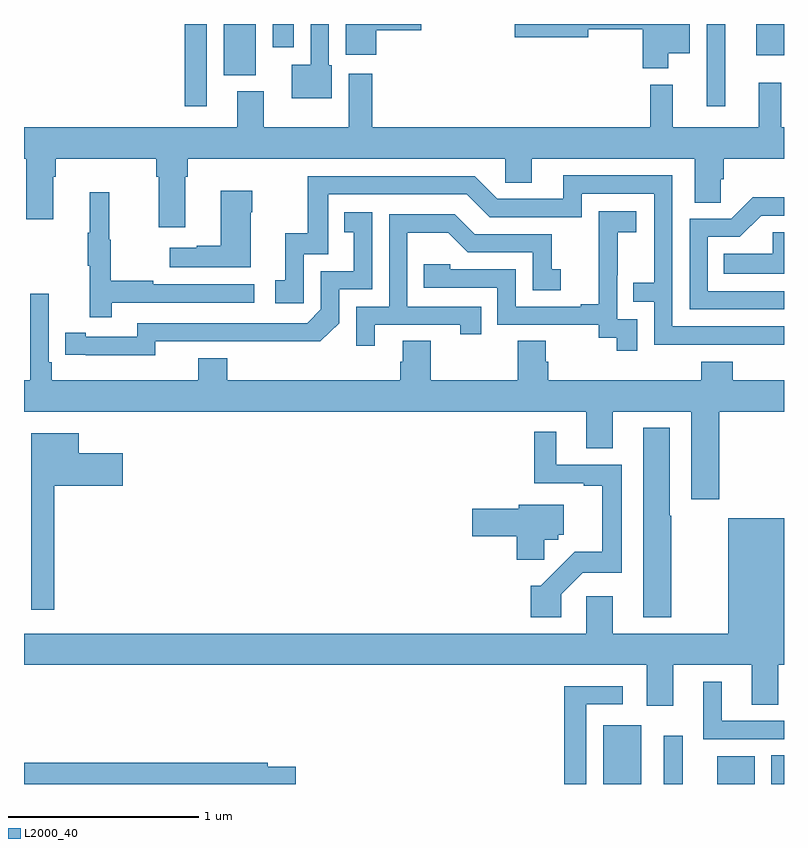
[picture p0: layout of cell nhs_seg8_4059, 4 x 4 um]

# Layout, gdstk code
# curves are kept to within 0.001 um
import gdstk
lib = gdstk.Library(unit=1e-6, precision=1e-09)
def R(c, l, rs):  # rectangles x0, y0, x1, y1
    for r in rs: c.add(gdstk.rectangle(r[:2], r[2:], *l))
def P(c, l, *ps):  # polygons
    for p in ps: c.add(gdstk.Polygon(p, *l))
L2000_40 = (2000, 40)

nhs_seg8_4059 = lib.new_cell('nhs_seg8_4059')
R(nhs_seg8_4059, L2000_40, [(364.049,1087.9,364.249,1088.209), (364.368,1087.9,364.466,1088.155), (364.649,1087.9,364.846,1088.047), (364.934,1087.9,365,1088.051), (361.846,1091.466,361.962,1091.9), (364.593,1091.466,364.69,1091.9), (362.051,1091.63,362.221,1091.9), (364.853,1091.735,365,1091.9), (362.309,1091.778,362.419,1091.9)])
P(nhs_seg8_4059, L2000_40, [(362.855,1091.867),(363.091,1091.867),(363.091,1091.9),(362.693,1091.9),(362.693,1091.739),(362.855,1091.739)],
  [(362.62,1091.682),(362.604,1091.682),(362.604,1091.9),(362.508,1091.9),(362.508,1091.686),(362.408,1091.686),(362.408,1091.51),(362.62,1091.51)],
  [(364.39,1091.747),(364.504,1091.747),(364.504,1091.9),(363.582,1091.9),(363.582,1091.83),(363.97,1091.83),(363.97,1091.872),(364.256,1091.872),(364.256,1091.666),(364.39,1091.666)],
  [(363.534,1091.065),(363.673,1091.065),(363.673,1091.192),(364.529,1091.192),(364.529,1090.96),(364.668,1090.96),(364.668,1091.083),(364.682,1091.083),(364.682,1091.192),(365,1091.192),(365,1091.356),(364.985,1091.356),(364.985,1091.59),(364.868,1091.59),(364.868,1091.356),(364.415,1091.356),(364.415,1091.581),(364.297,1091.581),(364.297,1091.356),(362.834,1091.356),(362.834,1091.638),(362.708,1091.638),(362.708,1091.356),(362.263,1091.356),(362.263,1091.545),(362.123,1091.545),(362.123,1091.356),(361,1091.356),(361,1091.192),(361.013,1091.192),(361.013,1090.872),(361.153,1090.872),(361.153,1091.096),(361.166,1091.096),(361.166,1091.192),(361.697,1091.192),(361.697,1091.096),(361.709,1091.096),(361.709,1090.83),(361.849,1090.83),(361.849,1091.096),(361.862,1091.096),(361.862,1091.192),(363.534,1091.192)],
  [(365,1090.308),(364.413,1090.308),(364.413,1091.103),(363.839,1091.103),(363.839,1090.98),(363.492,1090.98),(363.372,1091.1),(362.493,1091.1),(362.493,1090.798),(362.375,1090.798),(362.375,1090.551),(362.322,1090.551),(362.322,1090.431),(362.472,1090.431),(362.472,1090.689),(362.601,1090.689),(362.601,1091.004),(363.33,1091.004),(363.45,1090.884),(363.936,1090.884),(363.936,1091.007),(364.317,1091.007),(364.317,1090.538),(364.207,1090.538),(364.207,1090.437),(364.317,1090.437),(364.317,1090.212),(365,1090.211)],
  [(362.194,1090.91),(362.202,1090.91),(362.202,1091.023),(362.036,1091.023),(362.036,1090.733),(361.91,1090.733),(361.91,1090.723),(361.767,1090.723),(361.767,1090.619),(362.194,1090.619)],
  [(361.463,1090.434),(362.212,1090.434),(362.212,1090.53),(361.679,1090.53),(361.679,1090.55),(361.456,1090.55),(361.456,1090.764),(361.448,1090.764),(361.448,1091.014),(361.346,1091.014),(361.346,1090.801),(361.335,1090.801),(361.335,1090.627),(361.346,1090.627),(361.346,1090.356),(361.463,1090.356)],
  [(365,1090.494),(364.599,1090.494),(364.599,1090.779),(364.768,1090.779),(364.879,1090.89),(365,1090.89),(365,1090.988),(364.835,1090.988),(364.722,1090.875),(364.503,1090.875),(364.503,1090.398),(365,1090.398)],
  [(364.227,1090.347),(364.122,1090.347),(364.122,1090.577),(364.124,1090.577),(364.124,1090.805),(364.222,1090.805),(364.222,1090.915),(364.024,1090.915),(364.024,1090.709),(364.025,1090.709),(364.025,1090.426),(363.929,1090.426),(363.929,1090.413),(363.588,1090.413),(363.588,1090.608),(363.243,1090.608),(363.243,1090.635),(363.103,1090.635),(363.103,1090.512),(363.492,1090.512),(363.492,1090.317),(364.026,1090.317),(364.026,1090.249),(364.119,1090.249),(364.119,1090.179),(364.227,1090.179)],
  [(361.692,1090.23),(362.56,1090.229),(362.658,1090.326),(362.658,1090.503),(362.832,1090.503),(362.832,1090.909),(362.686,1090.909),(362.686,1090.803),(362.735,1090.803),(362.735,1090.599),(362.562,1090.599),(362.562,1090.398),(362.49,1090.326),(361.596,1090.326),(361.596,1090.254),(361.324,1090.254),(361.324,1090.274),(361.216,1090.274),(361.216,1090.158),(361.692,1090.157)],
  [(362.845,1090.317),(363.296,1090.317),(363.296,1090.266),(363.407,1090.266),(363.407,1090.413),(363.018,1090.413),(363.018,1090.802),(363.232,1090.802),(363.336,1090.698),(363.678,1090.698),(363.678,1090.5),(363.826,1090.5),(363.826,1090.609),(363.777,1090.609),(363.777,1090.794),(363.373,1090.794),(363.268,1090.899),(362.922,1090.899),(362.922,1090.413),(362.748,1090.413),(362.748,1090.206),(362.845,1090.206)],
  [(365,1090.805),(364.941,1090.805),(364.941,1090.69),(364.684,1090.69),(364.684,1090.586),(365,1090.586)],
  [(364.659,1089.86),(365,1089.86),(365,1090.024),(364.73,1090.024),(364.73,1090.123),(364.565,1090.123),(364.565,1090.024),(363.758,1090.024),(363.758,1090.122),(363.745,1090.122),(363.745,1090.232),(363.598,1090.232),(363.598,1090.024),(363.141,1090.024),(363.141,1090.232),(362.993,1090.232),(362.993,1090.122),(362.981,1090.122),(362.981,1090.024),(362.069,1090.024),(362.069,1090.141),(361.916,1090.141),(361.916,1090.024),(361.145,1090.024),(361.145,1090.12),(361.131,1090.12),(361.131,1090.48),(361.034,1090.48),(361.034,1090.024),(361,1090.024),(361,1089.86),(363.959,1089.86),(363.959,1089.666),(364.099,1089.666),(364.099,1089.86),(364.511,1089.86),(364.511,1089.399),(364.659,1089.399)],
  [(364.407,1089.311),(364.399,1089.311),(364.399,1089.775),(364.259,1089.775),(364.259,1088.777),(364.407,1088.777)],
  [(363.828,1088.898),(363.942,1089.012),(364.147,1089.012),(364.147,1089.579),(363.802,1089.579),(363.802,1089.754),(363.685,1089.754),(363.685,1089.483),(363.947,1089.483),(363.947,1089.471),(364.043,1089.471),(364.043,1089.122),(363.899,1089.122),(363.721,1088.944),(363.668,1088.944),(363.668,1088.778),(363.828,1088.778)],
  [(361.159,1089.47),(361.519,1089.47),(361.519,1089.64),(361.288,1089.64),(361.288,1089.745),(361.037,1089.745),(361.037,1088.817),(361.159,1088.817)],
  [(363.737,1089.186),(363.813,1089.186),(363.813,1089.213),(363.841,1089.213),(363.841,1089.37),(363.605,1089.37),(363.605,1089.35),(363.36,1089.35),(363.36,1089.203),(363.593,1089.203),(363.593,1089.081),(363.737,1089.081)],
  [(364.099,1088.887),(363.96,1088.887),(363.96,1088.692),(361,1088.692),(361,1088.528),(364.277,1088.528),(364.277,1088.313),(364.417,1088.313),(364.417,1088.528),(364.829,1088.528),(364.829,1088.317),(364.969,1088.317),(364.969,1088.528),(365,1088.528),(365,1089.298),(364.706,1089.298),(364.706,1088.692),(364.099,1088.692)],
  [(365,1088.232),(364.672,1088.232),(364.672,1088.437),(364.574,1088.437),(364.574,1088.136),(365,1088.136)],
  [(363.96,1088.319),(364.15,1088.319),(364.15,1088.415),(363.844,1088.415),(363.844,1087.9),(363.96,1087.9)],
  [(362.429,1087.992),(362.282,1087.992),(362.282,1088.012),(361,1088.012),(361,1087.9),(362.429,1087.9)])

lib.write_gds('nhs_seg8_4059.gds')
